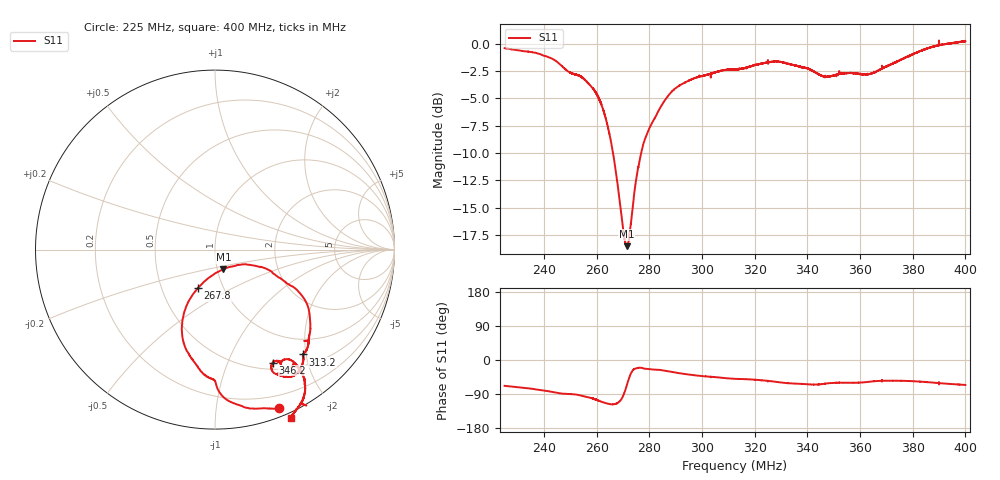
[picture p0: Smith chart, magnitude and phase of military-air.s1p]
! Calibrated averaged scanner-service zoom
# Hz S RI R 50
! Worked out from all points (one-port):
!   10001 points, 225 MHz to 400 MHz, reference 50 ohm
!   lowest |S11| = -18.5 dB at 271.4 MHz (marker M1), VSWR 1.27, Z = 53.5 - j11.9 ohm
!   |S11| at or under -10 dB: 266.2 MHz to 276.9 MHz (10.69 MHz wide, 3.94 % of centre)
!   S11 on the Smith chart (normalised r, x): 225 MHz: 0.08, -1.48; 267.8 MHz: 0.76, -0.35; 313.2 MHz: 0.70, -1.95; 346.2 MHz: 0.58, -1.47; 400 MHz: -0.04, -1.54
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2.25e8  0.3542 -0.8844
2.378625e8  0.1781 -0.8819
2.46875e8  0.0198 -0.7864
2.54785e8  -0.0648 -0.6929
2.606475e8  -0.1664 -0.5441
2.64445e8  -0.1756 -0.365
2.677525e8  -0.0952 -0.215
2.6875e8  -0.0604 -0.1795
2.7036e8  0.00395 -0.131
2.713925e8  0.0464 -0.1094
2.7246e8  0.0985 -0.0938
2.754525e8  0.2434 -0.0951
2.7813e8  0.3334 -0.139
2.856025e8  0.4826 -0.2536
2.90625e8  0.5257 -0.3546
2.991125e8  0.5266 -0.4717
3.125e8  0.493 -0.58
3.132175e8  0.4909 -0.5839
3.2405e8  0.4733 -0.665
3.2951e8  0.4256 -0.7077
3.34375e8  0.3764 -0.7056
3.408325e8  0.3289 -0.689
3.4624e8  0.3212 -0.6299
3.5625e8  0.3663 -0.6367
3.6577e8  0.416 -0.6129
3.78125e8  0.4955 -0.7183
3.8635e8  0.4951 -0.8189
4e8  0.4197 -0.9352
